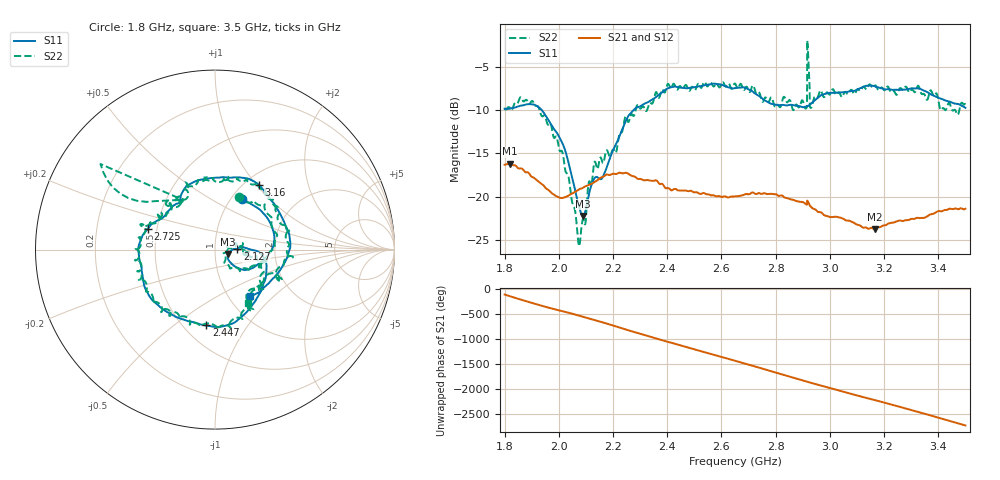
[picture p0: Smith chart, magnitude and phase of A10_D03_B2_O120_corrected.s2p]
! Created with skrf 1.9.0 (http://scikit-rf.org).
# Hz S RI R 50.0
!freq ReS11 ImS11 ReS21 ImS21 ReS12 ImS12 ReS22 ImS22
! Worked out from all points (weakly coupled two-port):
!   1601 points, 1.8 GHz to 3.5 GHz, reference 50 ohm
!   highest |S21| = -16.21 dB at 1.818 GHz (marker M1); lowest = -23.7 dB at 3.165 GHz (marker M2)
!   lowest |S11| = -22.2 dB at 2.09 GHz (marker M3), VSWR 1.17, Z = 57.8 - j2.87 ohm
!   |S11| at or under -10 dB: 1.937 GHz to 2.276 GHz (339.1 MHz wide, 16.1 % of centre)
!   |S22| runs from -25.7 to -2.0 dB; largest |S21 - S12| = 0.0027
!   S11 on the Smith chart (normalised r, x): 1.8 GHz: 1.12, +0.71; 2.127 GHz: 1.28, +0.01; 2.447 GHz: 0.64, -0.66; 2.725 GHz: 0.44, +0.12; 3.16 GHz: 1.16, +1.03; 3.5 GHz: 1.26, -0.73
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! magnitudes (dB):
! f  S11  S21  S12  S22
! 1.8 GHz  -9.8  -16.3  -16.3  -9.9
! 1.818 GHz  -9.9  -16.2  -16.2  -9.7
! 1.903 GHz  -9.4  -17.7  -17.7  -9.0
! 1.968 GHz  -11.5  -19.4  -19.4  -11.5
! 2.015 GHz  -13.9  -20.1  -20.2  -15.0
! 2.072 GHz  -20.8  -19.2  -19.2  -25.3
! 2.084 GHz  -22.0  -19.1  -19.0  -23.5
! 2.09 GHz  -22.2  -19.0  -19.0  -22.6
! 2.127 GHz  -18.1  -18.4  -18.4  -16.8
! 2.261 GHz  -10.5  -17.5  -17.5  -11.1
! 2.367 GHz  -8.3  -18.4  -18.3  -8.5
! 2.447 GHz  -7.4  -19.3  -19.3  -7.2
! 2.65 GHz  -7.5  -20.0  -19.9  -6.9
! 2.725 GHz  -8.1  -19.7  -19.7  -7.9
! 2.868 GHz  -9.5  -20.4  -20.4  -9.9
! 2.907 GHz  -9.7  -20.8  -20.7  -9.7
! 2.925 GHz  -9.4  -20.9  -20.9  -7.4
! 2.934 GHz  -9.2  -21.3  -21.2  -9.6
! 3.16 GHz  -7.2  -23.7  -23.6  -7.4
! 3.165 GHz  -7.3  -23.7  -23.7  -7.2
! 3.217 GHz  -7.6  -23.1  -23.1  -7.5
! 3.5 GHz  -9.7  -21.4  -21.4  -9.1
